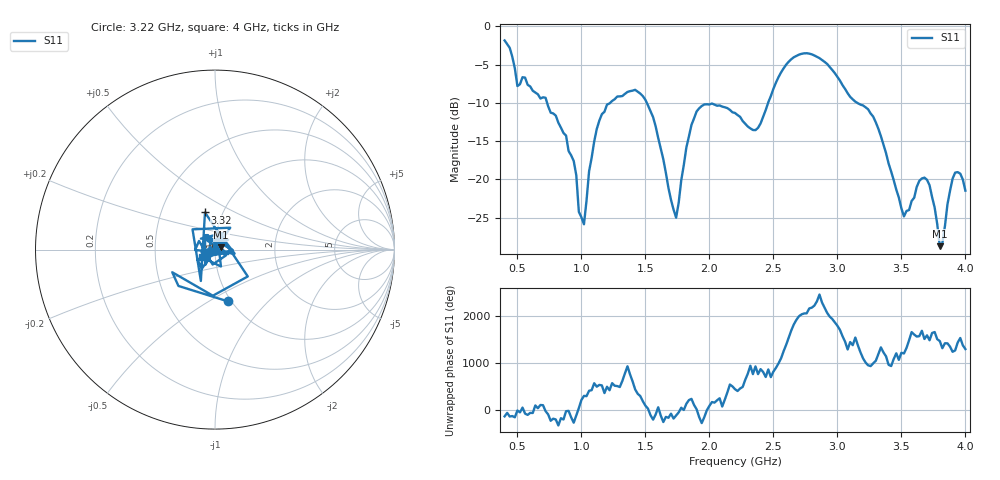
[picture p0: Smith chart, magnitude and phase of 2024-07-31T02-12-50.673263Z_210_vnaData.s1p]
!Created with skrf (http://scikit-rf.org).
# Hz S RI R 50.0
!freq ReS11 ImS11
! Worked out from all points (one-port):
!   181 points, 400 MHz to 4 GHz, reference 50 ohm
!   lowest |S11| = -28.7 dB at 3.8 GHz (marker M1), VSWR 1.08, Z = 53.6 + j1.31 ohm
!   |S11| at or under -10 dB: 732.2 MHz to 1.224 GHz (491.7 MHz wide, 50.3 % of centre); 1.511 GHz to 2.458 GHz (947.1 MHz wide, 47.7 % of centre); 3.156 GHz to end of sweep
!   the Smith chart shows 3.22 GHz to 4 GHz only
!   S11 on the Smith chart (normalised r, x): 3.22 GHz: 0.96, -0.61; 3.32 GHz: 0.82, +0.36; 4 GHz: 0.86, -0.07
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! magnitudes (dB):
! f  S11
! 400 MHz  -1.8
! 500 MHz  -7.8
! 720 MHz  -9.3
! 860 MHz  -13.9
! 940 MHz  -17.6
! 980 MHz  -24.2
! 1.02 GHz  -25.9
! 1.06 GHz  -18.9
! 1.12 GHz  -13.4
! 1.3 GHz  -9.1
! 1.5 GHz  -9.6
! 1.74 GHz  -25.0
! 1.76 GHz  -23.0
! 1.82 GHz  -15.8
! 1.9 GHz  -11.1
! 2.2 GHz  -11.3
! 2.38 GHz  -13.3
! 2.66 GHz  -4.0
! 2.86 GHz  -4.1
! 3.1 GHz  -9.2
! 3.22 GHz  -10.6
! 3.32 GHz  -13.4
! 3.52 GHz  -24.8
! 3.56 GHz  -24.0
! 3.7 GHz  -20.0
! 3.8 GHz  -28.7
! 3.92 GHz  -19.1
! 4 GHz  -21.5
